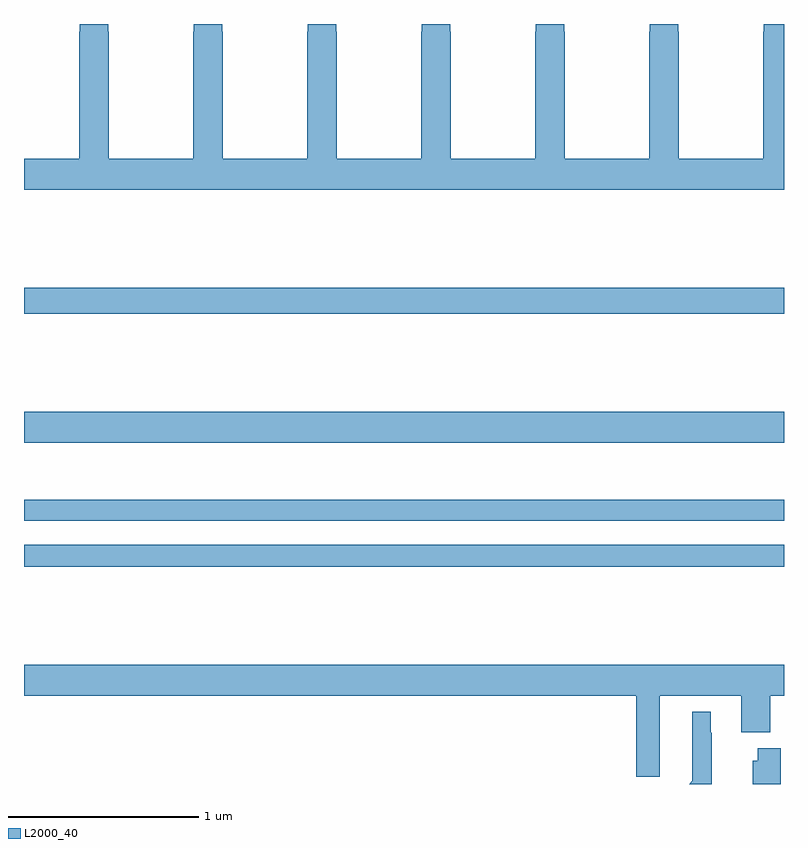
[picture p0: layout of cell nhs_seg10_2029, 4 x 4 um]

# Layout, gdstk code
import gdstk
lib = gdstk.Library(unit=1e-6, precision=1e-09)
def R(c, l, rs):  # rectangles x0, y0, x1, y1
    for r in rs: c.add(gdstk.rectangle(r[:2], r[2:], *l))
def P(c, l, *ps):  # polygons
    for p in ps: c.add(gdstk.Polygon(p, *l))
L2000_40 = (2000, 40)

nhs_seg10_2029 = lib.new_cell('nhs_seg10_2029')
R(nhs_seg10_2029, L2000_40, [(217,1319.644,221,1319.76), (217,1319.886,221,1319.995), (217,1320.296,221,1320.46), (217,1320.976,221,1321.112)])
P(nhs_seg10_2029, L2000_40, [(221,1322.5),(220.893,1322.5),(220.893,1322.459),(220.891,1322.459),(220.891,1321.792),(220.446,1321.792),(220.446,1322.459),(220.443,1322.459),(220.443,1322.5),(220.293,1322.5),(220.293,1322.459),(220.291,1322.459),(220.291,1321.792),(219.846,1321.792),(219.846,1322.459),(219.843,1322.459),(219.843,1322.5),(219.693,1322.5),(219.693,1322.459),(219.691,1322.459),(219.691,1321.792),(219.246,1321.792),(219.246,1322.459),(219.243,1322.459),(219.243,1322.5),(219.093,1322.5),(219.093,1322.459),(219.091,1322.459),(219.091,1321.792),(218.646,1321.792),(218.646,1322.459),(218.643,1322.459),(218.643,1322.5),(218.493,1322.5),(218.493,1322.459),(218.491,1322.459),(218.491,1321.792),(218.046,1321.792),(218.046,1322.459),(218.043,1322.459),(218.043,1322.5),(217.893,1322.5),(217.893,1322.459),(217.891,1322.459),(217.891,1321.792),(217.446,1321.792),(217.446,1322.459),(217.443,1322.459),(217.443,1322.5),(217.293,1322.5),(217.293,1322.459),(217.291,1322.459),(217.291,1321.792),(217,1321.792),(217,1321.628),(221,1321.628)],
  [(220.345,1318.964),(220.775,1318.964),(220.775,1318.772),(220.928,1318.772),(220.928,1318.964),(221,1318.964),(221,1319.128),(217,1319.128),(217,1318.964),(220.223,1318.964),(220.223,1318.539),(220.345,1318.539)],
  [(220.619,1318.769),(220.615,1318.769),(220.615,1318.879),(220.517,1318.879),(220.517,1318.618),(220.518,1318.618),(220.518,1318.516),(220.502,1318.5),(220.619,1318.5)],
  [(220.984,1318.687),(220.862,1318.687),(220.862,1318.623),(220.835,1318.623),(220.835,1318.5),(220.984,1318.5)])

lib.write_gds('nhs_seg10_2029.gds')
